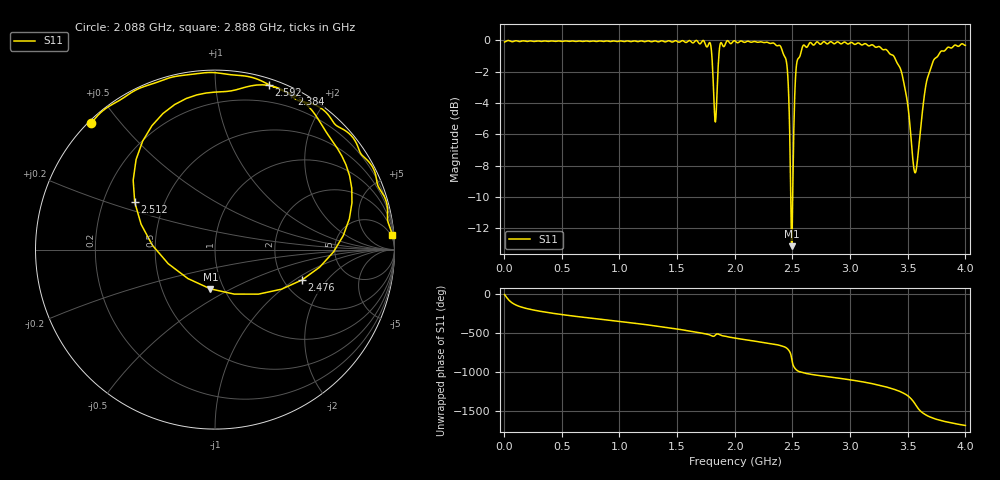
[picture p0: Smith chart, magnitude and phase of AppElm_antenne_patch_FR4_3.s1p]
! TOUCHSTONE file generated by CST MICROWAVE STUDIO
! Date and time: Tue Jun 14 11:50:59 2022
! Project name: AppElm_antenne_patch_FR4.cst
! Parameters = {L=38.25; W=58.5; e=0.035; h=1.6; lambda=0.190476; ls=120; w0=2.54; w1=0.847; ws=120; y0=18; y1=23.8}
! Header version: 2018
! Port assignment regex: !\s*Touchstone port\s*([0-9]+)\s*=\s*(CST MWS port|CST DS port)\s*([0-9]+|Zmin|Zmax)\s*\(\"(.*)\"\)(\s*mode\s*([0-9]+))?.*
! Touchstone port assignment:
! Touchstone port 1 = CST MWS port 1 ("")
# GHz S MA R 50
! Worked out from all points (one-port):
!   1000 points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, 4 MHz to 4 GHz, reference 50 ohm
!   lowest |S11| = -13.1 dB at 2.492 GHz (marker M1), VSWR 1.56, Z = 43.2 - j19.9 ohm
!   |S11| at or under -10 dB: 2.485 GHz to 2.502 GHz (16.92 MHz wide, 0.678 % of centre)
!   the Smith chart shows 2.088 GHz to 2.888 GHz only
!   S11 on the Smith chart (normalised r, x): 2.088 GHz: 0.01, +0.42; 2.384 GHz: 0.06, +1.61; 2.476 GHz: 2.51, -1.15; 2.512 GHz: 0.34, +0.24; 2.592 GHz: 0.06, +1.38; 2.888 GHz: 3, +24
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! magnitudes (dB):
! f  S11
! 4 MHz  -0.1
! 504 MHz  -0.1
! 1.004 GHz  0.0
! 1.504 GHz  -0.1
! 1.78 GHz  -0.1
! 1.832 GHz  -5.2
! 1.88 GHz  -0.1
! 2.004 GHz  0.0
! 2.088 GHz  -0.1
! 2.384 GHz  -0.3
! 2.448 GHz  -1.4
! 2.46 GHz  -2.3
! 2.476 GHz  -5.8
! 2.492 GHz  -13.1
! 2.504 GHz  -9.1
! 2.512 GHz  -5.7
! 2.536 GHz  -1.5
! 2.592 GHz  -0.3
! 2.888 GHz  -0.1
! 3.004 GHz  -0.1
! 3.376 GHz  -1.0
! 3.448 GHz  -2.1
! 3.504 GHz  -4.3
! 3.548 GHz  -7.9
! 3.568 GHz  -8.4
! 3.652 GHz  -3.1
! 3.716 GHz  -1.4
! 4 GHz  -0.3
